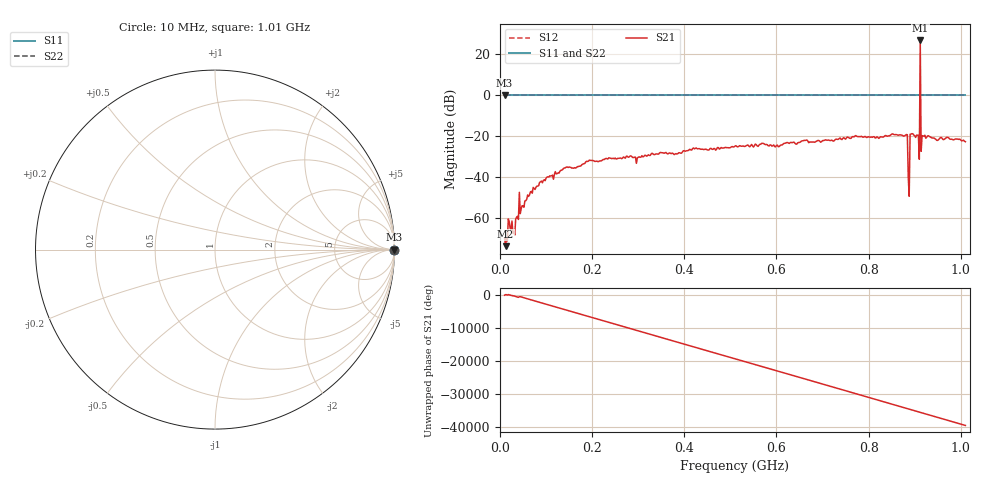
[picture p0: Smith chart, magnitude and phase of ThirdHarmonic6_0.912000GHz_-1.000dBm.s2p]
! 8/16/2025 5:50:59 AM
! C:\ANRITSUVNA\TEMP\TEMP.S2P
! CHANNEL.1
! TR.MEASUREMENT
! RAW.DATA
! RF.CORRECTION.OFF
! AVERAGING.OFF
! IF.BANDWIDTH: 5KHZ
! SWEEPTYPE:  FREQ.SWEEP(Linear)
! Reference Plane Port Info
! PORT:  PORT1  PORT2
! DISTANCE:  0  m  0  m
! TIME:  0  s  0  s
! PHASE.OFFSET:  0  deg.  0  deg.
! LOSS:  0  dB  0  dB
! REF.LOSS:  0  dB  0  dB
! REF.FREQ:  0  Hz  0  Hz
! Power Info
! POWER:  -20  dBm  -20  dBm
! EFF.POWER:  -20  dBm  -20  dBm
! SOURCE.ATTEN:  0  dB  0  dB
! TEST.ATTEN:  0  dB  0  dB
# GHZ S RI R 50.0
! FREQ.GHZ  S11RE  S11IM  S21RE  S21IM  S12RE  S12IM  S22RE  S22IM
!; PortSelection: Port_12
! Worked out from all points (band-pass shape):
!   501 points, 10 MHz to 1.01 GHz, reference 50 ohm
!   highest |S21| = 26.80 dB at 912 MHz (marker M1); lowest = -73.5 dB at 12 MHz (marker M2)
!   |S21| within 3 dB of the highest: 911.8965 MHz to 912.111 MHz (214.6 kHz wide, 0.0235 % of centre)
!   lowest |S11| = 0.0 dB at 10 MHz (marker M3)
!   |S11| at or under -10 dB: nowhere
!   |S22| runs from 0.0 to 0.0 dB; largest |S21 - S12| = 23
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0.01  1 0  0.000263 -0.000209  1 0  1 0
0.012  1 0  -0.000145 0.000153  1 0  1 0
0.022  1 0  0.000572 6.19e-05  1 0  1 0
0.028  1 0  -0.000248 0.000356  1 0  1 0
0.046  1 0  -0.00152 0.000835  1 0  1 0
0.07  1 0  -0.001 -0.004  1 0  1 0
0.142  1 0  -0.016 -0.00643  1 0  1 0
0.178  1 0  -0.0201 -0.00468  1 0  1 0
0.344  1 0  0.0358 -0.00919  1 0  1 0
0.51  1 0  -0.0501 0.0296  1 0  1 0
0.678  1 0  -0.0525 -0.0507  1 0  1 0
0.844  1 0  0.1032 0.0113  1 0  1 0
0.88  1 0  0.1056 -0.0207  1 0  1 0
0.884  1 0  -0.1097 -0.00807  1 0  1 0
0.89  1 0  0.059 -0.0961  1 0  1 0
0.894  1 0  -0.0859 0.0795  1 0  1 0
0.906  1 0  0.1059 0.0169  1 0  1 0
0.908  1 0  0.0336 -0.1009  1 0  1 0
0.912  1 0  -17.5 13.14  1 0  1 0
0.916  1 0  0.0818 -0.0648  1 0  1 0
0.918  1 0  -0.0498 -0.0906  1 0  1 0
1.01  1 0  -0.0414 0.062  1 0  1 0
